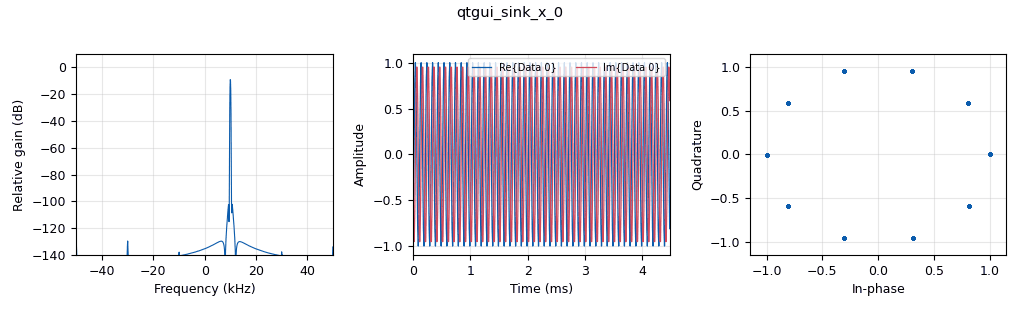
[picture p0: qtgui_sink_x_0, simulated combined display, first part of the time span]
options:
  parameters:
    generate_options: qt_gui
    id: untitled
    output_language: python
    title: Not titled yet
  states: {}

blocks:
- name: samp_rate
  id: variable
  parameters:
    value: '100000'
  states: {}
- name: analog_sig_source_x_0
  id: analog_sig_source_x
  parameters:
    amp: '1'
    freq: '10000'
    offset: '0'
    phase: '0'
    samp_rate: samp_rate
    type: complex
    waveform: analog.GR_SIN_WAVE
  states: {}
- name: blocks_throttle_0
  id: blocks_throttle
  parameters:
    samples_per_second: samp_rate
    type: complex
  states: {}
- name: qtgui_sink_x_0
  id: qtgui_sink_x
  parameters:
    bw: samp_rate
    fc: '0'
    fftsize: '1024'
    type: complex
  states: {}

connections:
- [analog_sig_source_x_0, '0', blocks_throttle_0, '0']
- [blocks_throttle_0, '0', qtgui_sink_x_0, '0']

metadata:
  file_format: 1
